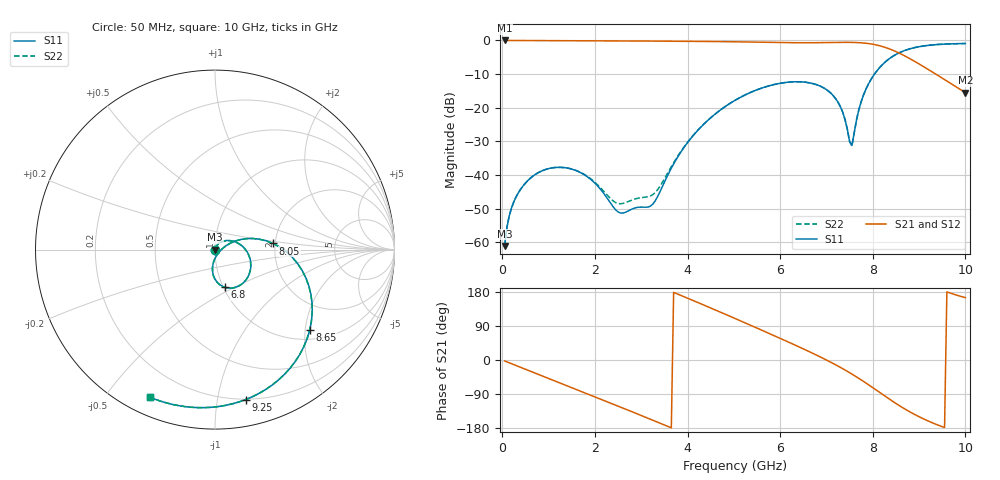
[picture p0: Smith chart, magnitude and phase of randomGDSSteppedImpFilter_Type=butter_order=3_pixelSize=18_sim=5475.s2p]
! freq	dB(S11)	phase(S11)	dB(S12)	phase(S12)
!  dB(S21)	phase(S21)	dB(S22)	phase(S22)
!S-par simulation data
#  GHz  S  DB  R 50
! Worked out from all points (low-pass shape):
!   200 points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, 50 MHz to 10 GHz, reference 50 ohm
!   highest |S21| = -0.01 dB at 50 MHz (marker M1); lowest = -15.6 dB at 10 GHz (marker M2)
!   |S21| within 3 dB of the highest: start of sweep to 8.449 GHz
!   lowest |S11| = -61.1 dB at 50 MHz (marker M3), VSWR 1.00, Z = 50 - j0.0794 ohm
!   |S11| at or under -10 dB: start of sweep to 8.038 GHz
!   |S22| runs from -61.2 to -0.9 dB; largest |S21 - S12| = 0
!   S11 on the Smith chart (normalised r, x): 50 MHz: 1.00, -0.00; 6.8 GHz: 1.02, -0.45; 8.05 GHz: 1.95, +0.15; 8.65 GHz: 1.23, -2.12; 9.25 GHz: 0.20, -1.21; 10 GHz: 0.08, -0.65
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0.05  -61.10 -64.3  -0.01 -2.5  -0.01 -2.5  -61.17 -64.3
0.15  -52.17 -87.7  -0.01 -7.3  -0.01 -7.3  -52.17 -87.8
0.25  -47.93 -96.7  -0.02 -12.2  -0.02 -12.2  -47.94 -96.8
0.6  -41.03 -119.6  -0.04 -29.1  -0.04 -29.1  -41.04 -120.0
1.15  -37.76 -149.6  -0.06 -55.7  -0.06 -55.7  -37.77 -150.6
1.75  -39.76 175.2  -0.10 -84.9  -0.10 -84.9  -39.67 172.4
2.55  -51.30 68.5  -0.15 -124.1  -0.15 -124.1  -48.56 65.2
3.2  -49.25 32.4  -0.19 -156.4  -0.19 -156.4  -46.22 29.8
3.4  -45.12 61.9  -0.21 -166.4  -0.21 -166.4  -43.48 51.8
4.1  -28.64 60.9  -0.27 158.0  -0.27 158.0  -28.56 57.8
5.05  -17.61 16.6  -0.40 108.3  -0.40 108.3  -17.61 15.6
5.85  -13.17 -24.5  -0.59 65.3  -0.59 65.3  -13.17 -25.1
6.7  -12.81 -69.4  -0.68 17.9  -0.68 17.9  -12.81 -69.8
6.8  -13.23 -74.7  -0.67 12.1  -0.67 12.1  -13.23 -75.1
7.25  -18.38 -96.4  -0.58 -16.1  -0.58 -16.1  -18.39 -96.8
7.55  -31.23 -24.2  -0.58 -37.1  -0.58 -37.1  -31.33 -24.2
7.75  -18.17 22.9  -0.70 -52.4  -0.70 -52.4  -18.18 22.8
8.05  -9.75 6.1  -1.26 -77.2  -1.26 -77.2  -9.75 5.9
8.35  -5.50 -17.3  -2.46 -102.5  -2.46 -102.5  -5.50 -17.5
8.65  -3.19 -40.3  -4.31 -126.2  -4.31 -126.2  -3.19 -40.5
9.25  -1.38 -78.4  -9.07 -163.8  -9.07 -163.8  -1.38 -78.5
10  -0.92 -113.8  -15.55 164.5  -15.55 164.5  -0.92 -113.9
